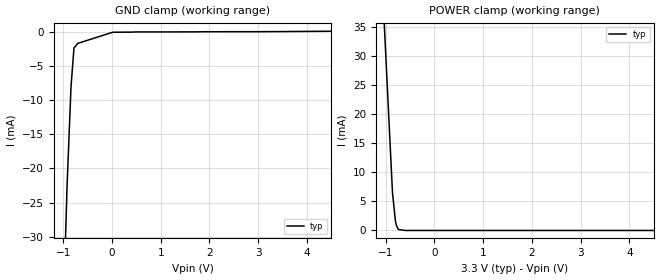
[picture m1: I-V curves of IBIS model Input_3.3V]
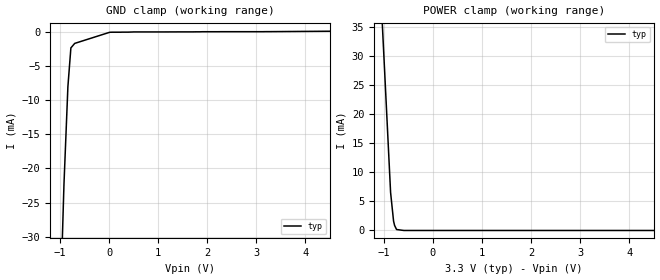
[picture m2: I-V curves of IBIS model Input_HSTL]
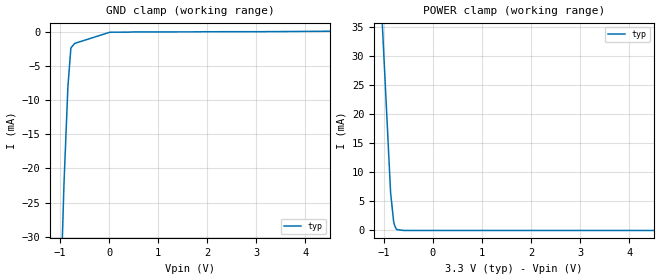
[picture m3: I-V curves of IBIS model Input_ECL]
| Teraspeed Modeling Services.
| http://www.teraspeed.com
[IBIS Ver]   3.2
[Comment Char] |_char
[File Name]   mc100ep809fa.ibs
[File Rev]   3.0
[Source]  Teraspeed Consulting Group LLC.
   Measured and Created by Dekker Graden
[Date]   07-06-2004
[Notes]   Quality Check of this IBIS model: Model Passes IBIS Check
   Model parses into ICX IS. Simulation done with Hyperlynx.
   1. Package data gained using TDA Systems Iconnect Software.
[Disclaimer]
| Use: Teraspeed Consulting Group LLC ("Teraspeed") hereby
| grants the user of this IBIS model ("user") a non-exclusive,
| nontransferable license to use the model under the following
| terms. User may only use the IBIS model and is not granted
| rights to sell, copy (except as needed to run the IBIS
| model), rent, lease or sub-license the IBIS model in whole or
| in part, or in modified form to anyone. User may modify the
| IBIS model to suit its specific applications, but rights to
| derivative works and such modifications shell belong to
| Teraspeed.
| DISCLAIMER OF WARRANTY: UNLESS OTHERWISE AGREED TO IN WRITING
| TERASPEED DISCLAIMS AND USER WAIVES ALL WARRANTIES, EXPRESS
| OR IMPLIED, INCLUDING WARRANTIES OF MERCHANTABILITY AND
| FITNESS FOR A PARTICULAR PURPOSE. IN NO EVENT SHALL
| TERASPEED BE LIABLE FOR ANY DIRECT OR INDIRECT DAMAGES,
| WHETHER IN CONTRACT OR TORT, INCLUDING, WITHOUT LIMITATION,
| LOST PROFITS, BUSINESS INTERRUPTION, OR LOST INFORMATION
| ARISING OUT OF THE USE OF OR THE INABILITY TO USE THE MODEL,
| EVEN IF TERASPEED HAS BEEN ADVISED OF THE POSSIBILITY OF SUCH
| DAMAGES.
[Copyright]
| This file is the legal property of Teraspeed Copyright(c) 2004.
| All other rights are reserved.
[Component] MC100EP809FA
[Manufacturer] OnSemiconductor
[Package]
| variable   typ   min   max
R_pkg  2.9814E-02  2.9814E-02  2.9814E-02
L_pkg  2.0870E-09  2.0870E-09  2.0870E-09
C_pkg  4.2591E-13  4.2591E-13  4.2591E-13
[Pin] signal_name  model_name  R_pin  L_pin C_pin
1   VCCI   POWER   3.3242E-02  2.3269E-09  4.7488E-13
2   HSTL_CLK   Input_HSTL  3.2558E-02  2.2790E-09  4.6511E-13
3   _HSTL_CLK   Input_HSTL  3.1890E-02  2.2323E-09  4.5558E-13
4   CLK_SEL   Input_3.3V  3.1241E-02  2.1869E-09  4.4630E-13
5   LVPECL_CLK   Input_ECL   3.0610E-02  2.1427E-09  4.3729E-13
6   _LVPECL_CLK  Input_ECL   3.0000E-02  2.1000E-09  4.2857E-13
7   GND   GND   2.9411E-02  2.0588E-09  4.2016E-13
8   OE   Input_3.3V  2.8844E-02  2.0191E-09  4.1206E-13
9   VCCO   POWER   2.8302E-02  1.9811E-09  4.0431E-13
10  _Q8   TRI_HSTL   2.7785E-02  1.9449E-09  3.9693E-13
11  Q8   TRI_HSTL   2.7295E-02  1.9106E-09  3.8992E-13
12  _Q7   TRI_HSTL   2.6833E-02  1.8783E-09  3.8333E-13
13  Q7   TRI_HSTL   2.6401E-02  1.8481E-09  3.7715E-13
14  _Q6   TRI_HSTL   2.6000E-02  1.8200E-09  3.7143E-13
15  Q6   TRI_HSTL   2.6401E-02  1.8481E-09  3.7715E-13
16  VCCO   POWER   2.6833E-02  1.8783E-09  3.8333E-13
17  VCCO   POWER   2.7295E-02  1.9106E-09  3.8992E-13
18  _Q5   TRI_HSTL   2.7785E-02  1.9449E-09  3.9693E-13
19  Q5   TRI_HSTL   2.8302E-02  1.9811E-09  4.0431E-13
20  _Q4   TRI_HSTL   2.8844E-02  2.0191E-09  4.1206E-13
21  Q4   TRI_HSTL   2.9411E-02  2.0588E-09  4.2016E-13
22  _Q3   TRI_HSTL   3.0000E-02  2.1000E-09  4.2857E-13
23  Q3   TRI_HSTL   3.0610E-02  2.1427E-09  4.3729E-13
24  VCCO   POWER   3.1241E-02  2.1869E-09  4.4630E-13
25  VCCO   POWER   3.1890E-02  2.2323E-09  4.5558E-13
26  _Q2   TRI_HSTL   3.2558E-02  2.2790E-09  4.6511E-13
27  Q2   TRI_HSTL   3.3242E-02  2.3269E-09  4.7488E-13
28  _Q1   TRI_HSTL   3.3242E-02  2.3269E-09  4.7488E-13
29  Q1   TRI_HSTL   3.2527E-02  2.2769E-09  4.6467E-13
30  _Q0   TRI_HSTL   3.1828E-02  2.2279E-09  4.5468E-13
31  Q0   TRI_HSTL   3.1145E-02  2.1801E-09  4.4493E-13
32  VCCO   POWER   3.0480E-02  2.1336E-09  4.3542E-13
[Diff Pin] inv_pin vdiff tdelay_typ tdelay_min tdelay_max
2   3   200mV  NA  NA  NA
5   6   435mV  NA  NA  NA
11  10  NA   NA  NA  NA
13  12  NA   NA  NA  NA
15  14  NA   NA  NA  NA
19  18  NA   NA  NA  NA
21  20  NA   NA  NA  NA
23  22  NA   NA  NA  NA
27  26  NA   NA  NA  NA
29  28  NA   NA  NA  NA
31  30  NA   NA  NA  NA
| Models and submodels in the file (4): Input_3.3V (Input), Input_HSTL (Input_ECL), Input_ECL (Input_ECL), TRI_HSTL (3-state_ECL)
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[Model] Input_3.3V
Model_type Input
Vinl  = 800.000mV
Vinh  = 2.00000V
C_comp  2.00000pF  NA  NA
| variable   typ   NA  NA
[Voltage Range]   3.30000V  NA  NA
[POWER Clamp Reference]  3.30000V  NA  NA
[GND Clamp Reference]   0.00000V  NA  NA
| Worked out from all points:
|   POWER clamp passes 1 mA (typ) near -0.78 V on its own axis
[GND Clamp]
-3.3V     -595.9mA   NA         NA
-921.3mV  -22.39mA   NA         NA
-840.9mV  -8.024mA   NA         NA
-780.1mV  -2.358mA   NA         NA
-702.1mV  -1.696mA   NA         NA
21.13mV   -61.74uA   NA         NA
6.6V      188.7uA    NA         NA
[POWER Clamp]
-3.3V     425.1mA    NA         NA
-1.039V   36.89mA    NA         NA
-1.019V   33.39mA    NA         NA
-862.4mV  6.536mA    NA         NA
-801.9mV  1.614mA    NA         NA
-781.5mV  878.1uA    NA         NA
-741.2mV  168.7uA    NA         NA
-593mV    0A         NA         NA
6.6V      0A         NA         NA
[Model] Input_HSTL
Model_type Input_ECL
Vinl  = 690.000mV
Vinh  = 890.000mV
C_comp  2.00000pF  NA  NA
| variable   typ   NA  NA
[Voltage Range]   3.30000V  NA  NA
[POWER Clamp Reference]  3.30000V  NA  NA
[GND Clamp Reference]   0.00000V  NA  NA
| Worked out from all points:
|   POWER clamp passes 1 mA (typ) near -0.78 V on its own axis
[GND Clamp]
-3.3V     -595.9mA   NA         NA
-921.3mV  -22.39mA   NA         NA
-840.9mV  -8.024mA   NA         NA
-780.1mV  -2.358mA   NA         NA
-702.1mV  -1.696mA   NA         NA
21.13mV   -61.74uA   NA         NA
6.6V      188.7uA    NA         NA
[POWER Clamp]
-3.3V     425.1mA    NA         NA
-1.039V   36.89mA    NA         NA
-1.019V   33.39mA    NA         NA
-862.4mV  6.536mA    NA         NA
-801.9mV  1.614mA    NA         NA
-781.5mV  878.1uA    NA         NA
-741.2mV  168.7uA    NA         NA
-593mV    0A         NA         NA
6.6V      0A         NA         NA
[Model] Input_ECL
Model_type Input_ECL
Vinl  = 1.7000V
Vinh  = 2.1350V
C_comp  2.00000pF  NA  NA
| variable   typ   NA  NA
[Voltage Range]   3.30000V  NA  NA
[POWER Clamp Reference]  3.30000V  NA  NA
[GND Clamp Reference]   0.00000V  NA  NA
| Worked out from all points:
|   POWER clamp passes 1 mA (typ) near -0.78 V on its own axis
[GND Clamp]
-3.3V     -595.9mA   NA         NA
-921.3mV  -22.39mA   NA         NA
-840.9mV  -8.024mA   NA         NA
-780.1mV  -2.358mA   NA         NA
-702.1mV  -1.696mA   NA         NA
21.13mV   -61.74uA   NA         NA
6.6V      188.7uA    NA         NA
[POWER Clamp]
-3.3V     425.1mA    NA         NA
-1.039V   36.89mA    NA         NA
-1.019V   33.39mA    NA         NA
-862.4mV  6.536mA    NA         NA
-801.9mV  1.614mA    NA         NA
-781.5mV  878.1uA    NA         NA
-741.2mV  168.7uA    NA         NA
-593mV    0A         NA         NA
6.6V      0A         NA         NA
